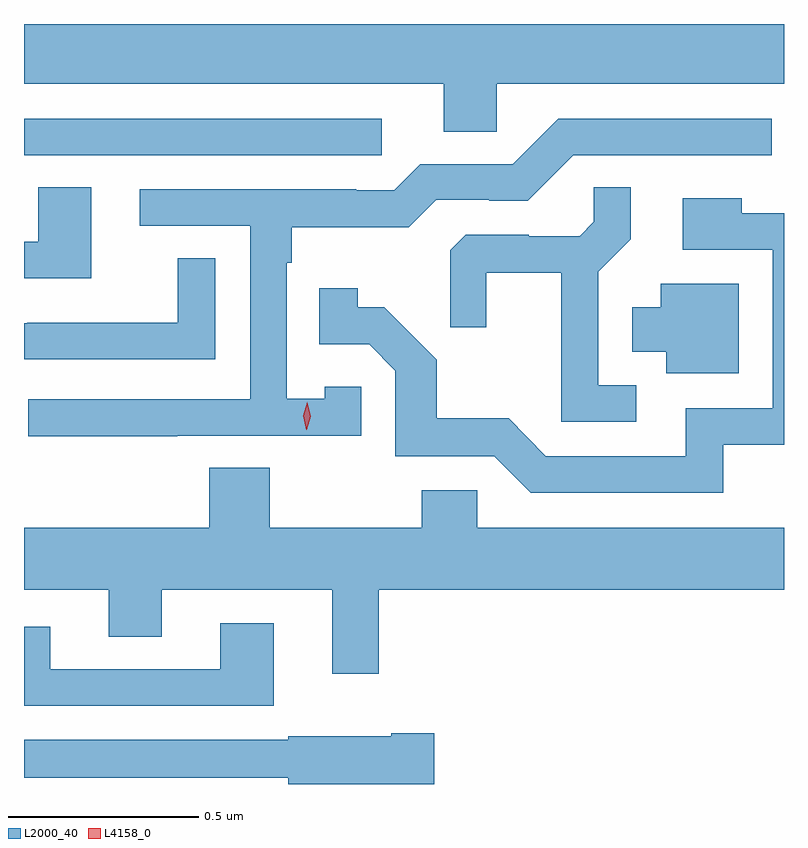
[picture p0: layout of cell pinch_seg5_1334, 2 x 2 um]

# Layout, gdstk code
import gdstk
lib = gdstk.Library(unit=1e-6, precision=1e-09)
def R(c, l, rs):  # rectangles x0, y0, x1, y1
    for r in rs: c.add(gdstk.rectangle(r[:2], r[2:], *l))
def P(c, l, *ps):  # polygons
    for p in ps: c.add(gdstk.Polygon(p, *l))
L2000_40 = (2000, 40)
L4158_0 = (4158, 0)

pinch_seg5_1334 = lib.new_cell('pinch_seg5_1334')
R(pinch_seg5_1334, L2000_40, [(397.858,860.568,398.8,860.664)])
P(pinch_seg5_1334, L2000_40, [(399.102,860.756),(399.858,860.756),(399.858,860.913),(397.858,860.913),(397.858,860.756),(398.963,860.756),(398.963,860.629),(399.102,860.629)],
  [(398.261,859.83),(398.745,859.83),(398.745,859.959),(398.649,859.959),(398.649,859.927),(398.55,859.927),(398.55,860.285),(398.563,860.285),(398.563,860.378),(398.87,860.378),(398.943,860.451),(399.082,860.451),(399.082,860.448),(399.183,860.448),(399.303,860.568),(399.826,860.568),(399.826,860.664),(399.264,860.664),(399.144,860.544),(398.901,860.544),(398.832,860.475),(398.732,860.475),(398.732,860.478),(398.163,860.478),(398.163,860.382),(398.454,860.382),(398.454,859.926),(397.869,859.926),(397.869,859.828),(398.261,859.828)],
  [(398.035,860.483),(397.895,860.483),(397.895,860.34),(397.858,860.34),(397.858,860.244),(398.035,860.244)],
  [(399.469,859.962),(399.369,859.962),(399.369,860.261),(399.455,860.347),(399.455,860.483),(399.357,860.483),(399.357,860.392),(399.32,860.355),(399.186,860.355),(399.186,860.358),(399.021,860.358),(398.98,860.317),(398.98,860.115),(399.074,860.115),(399.074,860.258),(399.272,860.258),(399.272,859.866),(399.469,859.866)],
  [(399.698,859.806),(399.858,859.806),(399.858,860.415),(399.747,860.415),(399.747,860.455),(399.591,860.455),(399.591,860.319),(399.828,860.319),(399.828,859.902),(399.599,859.902),(399.599,859.776),(399.231,859.776),(399.133,859.875),(398.944,859.875),(398.944,860.03),(398.806,860.168),(398.736,860.168),(398.736,860.218),(398.635,860.218),(398.635,860.07),(398.766,860.07),(398.835,860.001),(398.835,859.776),(399.096,859.776),(399.192,859.68),(399.698,859.68)],
  [(398.361,860.297),(398.263,860.297),(398.263,860.127),(397.867,860.127),(397.867,860.126),(397.858,860.126),(397.858,860.031),(398.361,860.031)],
  [(399.739,860.23),(399.533,860.23),(399.533,860.167),(399.458,860.167),(399.458,860.051),(399.548,860.051),(399.548,859.994),(399.739,859.994)],
  [(398.791,859.424),(399.858,859.424),(399.858,859.588),(399.051,859.588),(399.051,859.686),(398.905,859.686),(398.905,859.588),(398.505,859.588),(398.505,859.745),(398.345,859.745),(398.345,859.588),(397.858,859.588),(397.858,859.424),(398.081,859.424),(398.081,859.3),(398.221,859.3),(398.221,859.424),(398.669,859.424),(398.669,859.203),(398.791,859.203)],
  [(398.515,859.336),(398.375,859.336),(398.375,859.215),(397.927,859.215),(397.927,859.327),(397.858,859.327),(397.858,859.119),(398.515,859.119)],
  [(398.938,859.047),(398.825,859.047),(398.825,859.039),(398.553,859.039),(398.553,859.03),(397.858,859.03),(397.858,858.929),(398.553,858.929),(398.553,858.913),(398.938,858.913)])
P(pinch_seg5_1334, L4158_0, [(398.601,859.845),(398.593,859.882),(398.604,859.917),(398.604,859.917),(398.604,859.917),(398.613,859.881),(398.602,859.845),(398.602,859.845)])

lib.write_gds('pinch_seg5_1334.gds')
